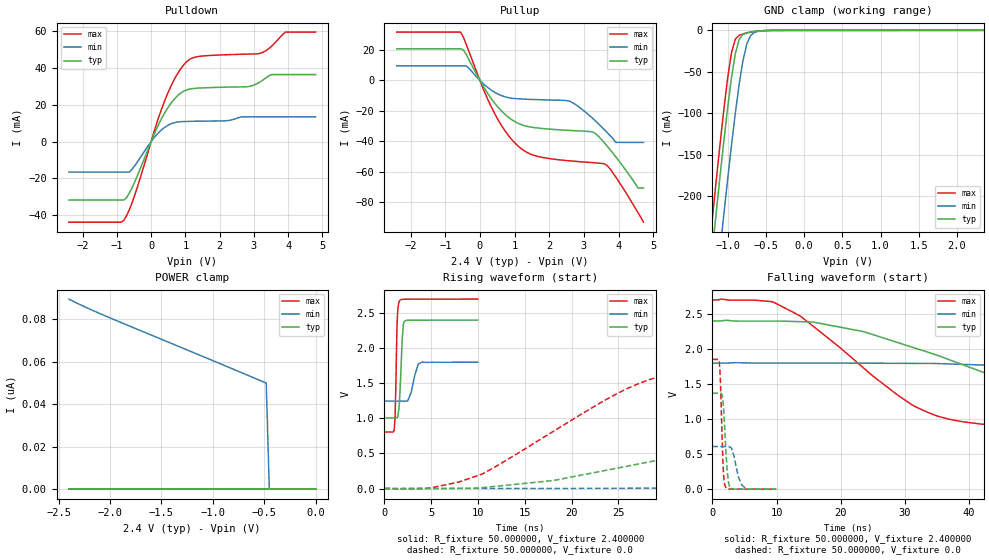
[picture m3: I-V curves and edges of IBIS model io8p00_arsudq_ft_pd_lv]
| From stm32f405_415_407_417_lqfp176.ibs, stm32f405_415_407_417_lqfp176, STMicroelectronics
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|   Model io8p00_arsudq_ft_pd_lv
[Model]  io8p00_arsudq_ft_pd_lv
Model_type I/O
Polarity   Non-Inverting
Enable   Active-Low
Vinl =   0.720000V
Vinh =   1.680000V
Vmeas =  1.200000V
Cref =   50.000000pF
Rref =   100.000000M
Vref =   0.0V
C_comp   2.238800pF   2.178700pF   2.334000pF
[Temperature Range]   25.000000   0.125000k   -40.000000
[Pullup Reference]   2.400000V   1.800000V   2.700000V
[Pulldown Reference]   0.0V   0.0V   0.0V
[POWER Clamp Reference]   2.400000V   1.800000V   2.700000V
[GND Clamp Reference]   0.0V   0.0V   0.0V
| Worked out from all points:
|   slope of the pulldown table from 0 to 0.36 V, typ, clamps not added: 25 ohm
|   slope of the pullup table from 0 to 0.36 V, typ, clamps not added: 27.7 ohm
|   GND clamp passes 1 mA (typ) near -0.62 V on its own axis
|   rising waveform, R_fixture 50.000000, V_fixture 2.400000: 20-80 % time 271ps typ, 604ps min, 182ps max; typ from 1 V to 2.4 V
|   rising waveform, R_fixture 50.000000, V_fixture 0.0: 20-80 % time 32.8ns typ, 82.1ns min, 14.3ns max; typ from 0 V to 1.37 V
|   falling waveform, R_fixture 50.000000, V_fixture 2.400000: 20-80 % time 29.4ns typ, 74.2ns min, 15.7ns max; typ from 2.4 V to 1 V
|   falling waveform, R_fixture 50.000000, V_fixture 0.0: 20-80 % time 522ps typ, 975ps min, 384ps max; typ from 1.37 V to 0 V
[Pulldown]
|Voltage   I(typ)   I(min)   I(max)
-2.4V     -31.73mA   -16.51mA   -43.74mA
-800mV    -31.73mA   -16.51mA   -42.87mA
-480mV    -21.98mA   -13.17mA   -29.2mA
80mV      3.63mA     1.966mA    5.014mA
480mV     18.15mA    8.738mA    26.02mA
800mV     25.38mA    10.72mA    37.77mA
1.12V     28.53mA    11.02mA    44.6mA
2.8V      29.84mA    13.49mA    47.53mA
3.2V      32.65mA    13.49mA    48.04mA
3.52V     36.42mA    13.49mA    51.83mA
3.92V     36.42mA    13.49mA    59.49mA
4.8V      36.42mA    13.49mA    59.49mA
[Pullup]
|Voltage   I(typ)   I(min)   I(max)
-2.4V     20.89mA    9.659mA    31.9mA
-560mV    20.89mA    9.659mA    31.9mA
-400mV    17.28mA    9.659mA    24.07mA
320mV     -11.75mA   -6.207mA   -17.08mA
960mV     -26.47mA   -11.82mA   -40.02mA
1.52V     -30.88mA   -12.51mA   -49.05mA
2.56V     -32.88mA   -13.48mA   -52.9mA
3.28V     -34.19mA   -25.52mA   -54.18mA
3.6V      -41.31mA   -32.62mA   -54.97mA
3.92V     -50.32mA   -40.8mA    -63.63mA
4.56V     -70.9mA    -40.8mA    -87.08mA
4.72V     -70.9mA    -40.8mA    -93.4mA
[GND_clamp]
|Voltage   I(typ)   I(min)   I(max)
-2.4V     -1.424A    -1.508A    -1.393A
-1.25V    -311.2mA   -401.9mA   -273.3mA
-1.2V     -265.4mA   -356.1mA   -227.2mA
-1.15V    -220.4mA   -310.8mA   -181.9mA
-1.1V     -176.3mA   -266.2mA   -137.9mA
-1.05V    -133.8mA   -222.5mA   -95.87mA
-950mV    -57.3mA    -138.9mA   -26.99mA
-900mV    -28.28mA   -100.4mA   -10.6mA
-850mV    -11.02mA   -65.54mA   -5.972mA
-750mV    -2.846mA   -16.51mA   -3.192mA
-600mV    -761.3uA   -1.173mA   -751.9uA
2.35V     58.09uA    37.92uA    67.25uA
[POWER_clamp]
|Voltage   I(typ)   I(min)   I(max)
-2.4V     0A         89.62nA    0A
-2.04V    0A         81.57nA    0A
-480mV    0A         50.01nA    0A
-450mV    0A         0A         0A
0V        0A         0A         0A
[Ramp]
| variable   typ   min   max
dV/dt_r  0.82170/32.82366n   0.36242/85.09830n   1.11018/14.28854n
dV/dt_f  0.83712/29.36745n   0.32760/79.42308n   1.13746/15.74331n
R_load = 50.000000
[Rising Waveform]
R_fixture= 50.000000
V_fixture= 2.400000
V_fixture_min= 1.800000
V_fixture_max= 2.700000
|time   V(typ)   V(min)   V(max)
0s        1.005V     1.245V     804.1mV
1.041ns   1.005V     1.245V     831.1mV
1.141ns   1.005V     1.246V     1.042V
1.381ns   1.014V     1.246V     2.441V
1.642ns   1.336V     1.246V     2.679V
1.902ns   2.139V     1.245V     2.694V
2.162ns   2.384V     1.244V     2.696V
2.843ns   2.398V     1.366V     2.697V
3.644ns   2.398V     1.776V     2.698V
9.97ns    2.399V     1.799V     2.699V
[Rising Waveform]
R_fixture= 50.000000
V_fixture= 0.0
V_fixture_min= 0.0
V_fixture_max= 0.0
|time   V(typ)   V(min)   V(max)
0s        4.156nV    252.6nV    1.585nV
5.005ns   -211uV     -65.32uV   10.99mV
10.51ns   12.92mV    -64.87uV   210.4mV
23.52ns   255.6mV    2.731mV    1.256V
28.03ns   372.2mV    4.599mV    1.539V
39.04ns   686.9mV    30.21mV    1.765V
58.06ns   1.115V     86.32mV    1.831V
78.08ns   1.31V      184.3mV    1.849V
148.1ns   1.367V     489.6mV    1.851V
249.2ns   1.369V     608.5mV    1.851V
[Falling Waveform]
R_fixture= 50.000000
V_fixture= 2.400000
V_fixture_min= 1.800000
V_fixture_max= 2.700000
|time   V(typ)   V(min)   V(max)
0s        2.399V     1.799V     2.699V
9.51ns    2.397V     1.798V     2.668V
16.02ns   2.378V     1.798V     2.301V
31.03ns   2.028V     1.794V     1.206V
35.54ns   1.893V     1.79V      1.03V
42.04ns   1.672V     1.771V     926.7mV
57.56ns   1.278V     1.723V     851.2mV
88.09ns   1.069V     1.553V     815.1mV
124.6ns   1.024V     1.381V     805.3mV
249.2ns   1.005V     1.245V     804.1mV
[Falling Waveform]
R_fixture= 50.000000
V_fixture= 0.0
V_fixture_min= 0.0
V_fixture_max= 0.0
|time   V(typ)   V(min)   V(max)
0s        1.369V     608.5mV    1.851V
1.061ns   1.369V     608.4mV    1.818V
1.241ns   1.369V     608.4mV    1.571V
1.682ns   1.232V     608.2mV    321.7mV
1.842ns   1.003V     607.9mV    112.1mV
2.042ns   655.1mV    607.8mV    32.3mV
2.482ns   117.3mV    610.1mV    2.554mV
2.843ns   16.84mV    593.5mV    356.4uV
4.645ns   56.98uV    52.38mV    25.4uV
9.97ns    4.156nV    252.6nV    1.585nV
